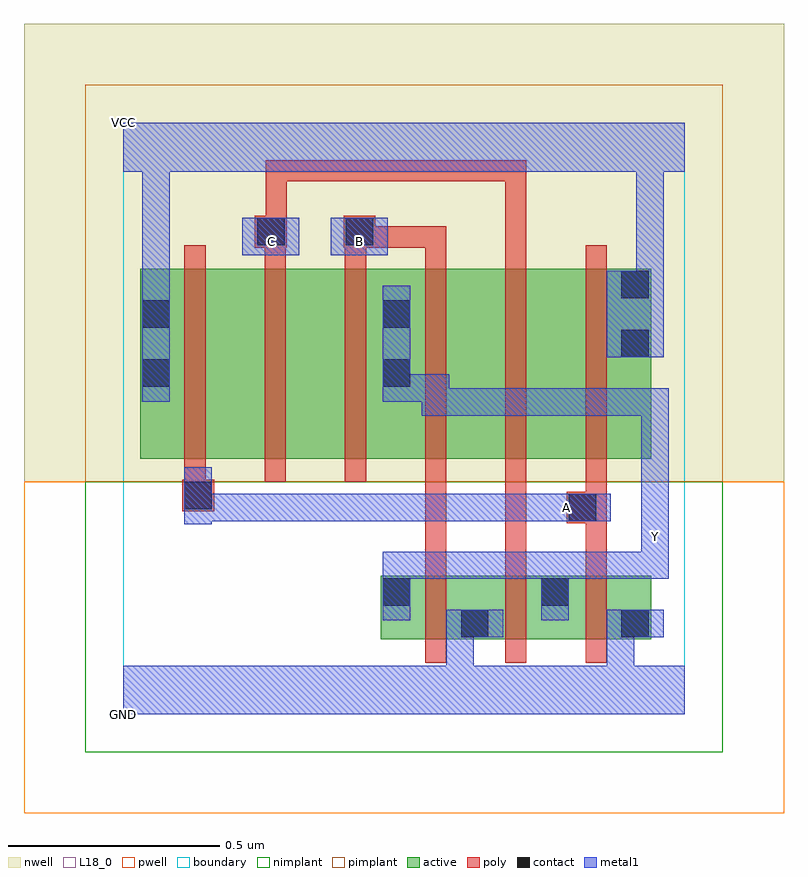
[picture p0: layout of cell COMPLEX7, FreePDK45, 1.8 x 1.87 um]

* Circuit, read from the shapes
.subckt COMPLEX7 A B C GND VCC Y
M1 GND B Y VSUBS nfet w=0.15u l=0.05u
M2 Y C GND VSUBS nfet w=0.15u l=0.05u
M3 GND A Y VSUBS nfet w=0.15u l=0.05u
M4 n1 A VCC n2 pfet w=0.45u l=0.05u
M5 n3 C n1 n2 pfet w=0.45u l=0.05u
M6 Y B n3 n2 pfet w=0.45u l=0.05u
M7 n4 B Y n2 pfet w=0.45u l=0.05u
M8 n5 C n4 n2 pfet w=0.45u l=0.05u
M9 VCC A n5 n2 pfet w=0.45u l=0.05u
.ends

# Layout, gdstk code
import gdstk
lib = gdstk.Library(unit=1e-6, precision=1e-09)
def R(c, l, rs):  # rectangles x0, y0, x1, y1
    for r in rs: c.add(gdstk.rectangle(r[:2], r[2:], *l))
def A(c, l, x, y, w, h, nx, ny, dx, dy):  # array of equal rectangles
    R(c, l, [(x+i*dx, y+j*dy, x+i*dx+w, y+j*dy+h) for i in range(nx) for j in range(ny)])
active = (1, 0)
pwell = (2, 0)
nwell = (3, 0)
nimplant = (4, 0)
pimplant = (5, 0)
poly = (9, 0)
contact = (10, 0)
metal1 = (11, 0)
L18_0 = (18, 0)
boundary = (235, 0)

complex7 = lib.new_cell('COMPLEX7')
R(complex7, active, [(0.61,0.177,0.87,0.327), (0.795,0.177,1.06,0.327), (0.795,0.177,0.87,0.275), (0.985,0.177,1.25,0.327), (1.175,0.177,1.25,0.327), (0.61,0.2,0.685,0.327), (0.985,0.2,1.06,0.327), (0.04,0.605,0.265,1.055), (0.04,0.605,0.115,1.055), (0.265,0.605,0.455,1.055), (0.455,0.605,0.685,1.055), (0.61,0.605,0.835,1.055), (0.835,0.605,1.025,1.055), (1.025,0.605,1.25,1.055), (1.175,0.642,1.25,1.055), (0.61,0.685,0.685,1.055)])
R(complex7, pwell, [(-0.235,-0.235,1.565,0.55)])
R(complex7, nwell, [(-0.235,0.55,1.565,1.635)])
R(complex7, nimplant, [(-0.09,-0.09,1.42,0.55)])
R(complex7, pimplant, [(-0.09,0.55,1.42,1.49)])
A(complex7, poly, 0.715, 0.122, 0.05, 0.26, 3, 1, 0.19, 0)
A(complex7, poly, 0.145, 0.55, 0.05, 0.56, 6, 1, 0.19, 0)
A(complex7, poly, 0.335, 1.06, 0.05, 0.095, 3, 1, 0.19, 0)
R(complex7, poly, [(0.715,0.332,0.765,0.555), (0.905,0.332,0.955,0.427), (1.095,0.332,1.145,0.502), (0.905,0.377,0.955,0.427), (0.905,0.377,0.955,0.6), (1.05,0.452,1.145,0.527), (1.095,0.477,1.145,0.6), (0.14,0.48,0.215,0.555), (0.145,0.505,0.195,0.6), (0.715,0.505,0.765,0.555), (0.715,0.505,0.765,0.6), (0.905,1.06,0.955,1.312), (0.312,1.105,0.387,1.18), (0.522,1.105,0.597,1.18), (0.547,1.105,0.597,1.155), (0.547,1.105,0.597,1.155), (0.547,1.105,0.765,1.155), (0.715,1.105,0.765,1.155), (0.337,1.13,0.387,1.18), (0.337,1.13,0.387,1.18), (0.337,1.13,0.387,1.312), (0.337,1.262,0.387,1.312), (0.337,1.262,0.597,1.312), (0.547,1.262,0.597,1.312), (0.547,1.262,0.597,1.312), (0.547,1.262,0.597,1.312), (0.547,1.262,0.73,1.312), (0.68,1.262,0.73,1.312), (0.68,1.262,0.955,1.312), (0.905,1.262,0.955,1.312), (0.905,1.262,0.955,1.312), (0.905,1.262,0.955,1.312), (0.905,1.262,0.955,1.312), (0.905,1.262,0.955,1.312)])
R(complex7, contact, [(0.8,0.182,0.865,0.247), (1.18,0.182,1.245,0.247), (0.615,0.257,0.68,0.322), (0.99,0.257,1.055,0.322), (1.055,0.457,1.12,0.522), (0.145,0.485,0.21,0.55), (0.045,0.775,0.11,0.84), (0.615,0.775,0.68,0.84), (1.18,0.845,1.245,0.91), (0.045,0.915,0.11,0.98), (0.615,0.915,0.68,0.98), (1.18,0.985,1.245,1.05), (0.317,1.11,0.382,1.175), (0.527,1.11,0.592,1.175)])
R(complex7, metal1, [(0,0,1.33,0.115), (0.765,0.05,0.83,0.247), (1.145,0.05,1.21,0.247), (0.765,0.182,0.83,0.247), (0.765,0.182,0.83,0.247), (0.765,0.182,0.9,0.247), (1.145,0.182,1.21,0.247), (1.145,0.182,1.21,0.247), (1.145,0.182,1.28,0.247), (0.615,0.222,0.68,0.357), (0.99,0.222,1.055,0.385), (0.615,0.292,0.68,0.357), (0.615,0.292,0.68,0.385), (0.615,0.32,0.91,0.385), (0.845,0.32,0.91,0.385), (0.845,0.32,0.91,0.385), (0.845,0.32,0.91,0.385), (0.845,0.32,1.055,0.385), (0.99,0.32,1.292,0.385), (1.227,0.32,1.292,0.385), (1.227,0.32,1.292,0.385), (1.227,0.32,1.292,0.385), (1.227,0.32,1.292,0.417), (1.227,0.352,1.292,0.487), (1.227,0.422,1.292,0.772), (0.145,0.45,0.21,0.585), (0.145,0.457,0.21,0.522), (0.145,0.457,0.21,0.522), (0.145,0.457,0.347,0.522), (0.282,0.457,0.347,0.522), (0.282,0.457,0.347,0.522), (0.282,0.457,0.347,0.522), (0.282,0.457,0.542,0.522), (0.477,0.457,0.542,0.522), (0.477,0.457,0.555,0.522), (0.49,0.457,0.555,0.522), (0.49,0.457,0.772,0.522), (0.707,0.457,0.772,0.522), (0.707,0.457,0.91,0.522), (0.845,0.457,0.91,0.522), (0.845,0.457,0.91,0.522), (0.845,0.457,0.91,0.522), (0.845,0.457,1.047,0.522), (0.982,0.457,1.047,0.522), (0.982,0.457,1.047,0.522), (0.982,0.457,1.155,0.522), (0.707,0.707,0.91,0.772), (0.707,0.707,0.772,0.805), (0.845,0.707,0.91,0.772), (0.845,0.707,0.91,0.772), (0.845,0.707,0.91,0.772), (0.845,0.707,1.057,0.772), (0.992,0.707,1.057,0.772), (0.992,0.707,1.057,0.772), (0.992,0.707,1.057,0.772), (0.992,0.707,1.292,0.772), (1.227,0.707,1.292,0.772), (0.045,0.74,0.11,1.015), (0.615,0.74,0.772,0.805), (0.615,0.74,0.68,1.015), (1.145,0.845,1.28,1.05), (0.045,0.95,0.11,1.35), (1.215,0.985,1.28,1.05), (1.215,0.985,1.28,1.05), (1.215,0.985,1.28,1.05), (1.215,0.985,1.28,1.05), (1.215,0.985,1.28,1.35), (0.282,1.087,0.417,1.175), (0.492,1.087,0.627,1.175), (0,1.285,1.33,1.4), (0.045,1.285,0.11,1.35), (0.045,1.285,0.11,1.35), (0.045,1.285,0.11,1.35), (0.045,1.285,0.11,1.35)])
R(complex7, L18_0, [(0,0,1.33,0.115), (0.765,0.05,0.83,0.247), (1.145,0.05,1.21,0.247), (0.765,0.182,0.83,0.247), (0.765,0.182,0.83,0.247), (0.765,0.182,0.9,0.247), (1.145,0.182,1.21,0.247), (1.145,0.182,1.21,0.247), (1.145,0.182,1.28,0.247), (0.615,0.222,0.68,0.357), (0.99,0.222,1.055,0.385), (0.615,0.292,0.68,0.357), (0.615,0.292,0.68,0.385), (0.615,0.32,0.91,0.385), (0.845,0.32,0.91,0.385), (0.845,0.32,0.91,0.385), (0.845,0.32,0.91,0.385), (0.845,0.32,1.055,0.385), (0.99,0.32,1.292,0.385), (1.227,0.32,1.292,0.385), (1.227,0.32,1.292,0.385), (1.227,0.32,1.292,0.385), (1.227,0.32,1.292,0.417), (1.227,0.352,1.292,0.487), (1.227,0.387,1.292,0.452), (1.227,0.422,1.292,0.772), (0.145,0.45,0.21,0.585), (0.145,0.457,0.21,0.522), (0.145,0.457,0.21,0.522), (0.145,0.457,0.347,0.522), (0.282,0.457,0.347,0.522), (0.282,0.457,0.347,0.522), (0.282,0.457,0.347,0.522), (0.282,0.457,0.542,0.522), (0.477,0.457,0.542,0.522), (0.477,0.457,0.555,0.522), (0.49,0.457,0.555,0.522), (0.49,0.457,0.772,0.522), (0.707,0.457,0.772,0.522), (0.707,0.457,0.91,0.522), (0.845,0.457,0.91,0.522), (0.845,0.457,0.91,0.522), (0.845,0.457,0.91,0.522), (0.845,0.457,1.047,0.522), (0.982,0.457,1.047,0.522), (0.982,0.457,1.047,0.522), (0.982,0.457,1.155,0.522), (1.017,0.457,1.082,0.522), (0.707,0.707,0.772,0.805), (0.707,0.707,0.91,0.772), (0.845,0.707,0.91,0.772), (0.845,0.707,0.91,0.772), (0.845,0.707,0.91,0.772), (0.845,0.707,1.057,0.772), (0.992,0.707,1.057,0.772), (0.992,0.707,1.057,0.772), (0.992,0.707,1.057,0.772), (0.992,0.707,1.292,0.772), (1.227,0.707,1.292,0.772), (0.045,0.74,0.11,1.015), (0.615,0.74,0.68,1.015), (0.615,0.74,0.772,0.805), (1.145,0.845,1.28,1.05), (0.045,0.95,0.11,1.35), (1.215,0.985,1.28,1.05), (1.215,0.985,1.28,1.05), (1.215,0.985,1.28,1.05), (1.215,0.985,1.28,1.05), (1.215,0.985,1.28,1.35), (0.282,1.087,0.417,1.175), (0.317,1.087,0.382,1.152), (0.492,1.087,0.627,1.175), (0.527,1.087,0.592,1.152), (0,1.285,1.33,1.4), (0.045,1.285,0.11,1.35), (0.045,1.285,0.11,1.35), (0.045,1.285,0.11,1.35), (0.045,1.285,0.11,1.35)])
R(complex7, boundary, [(0,0,1.33,1.4)])
complex7.add(gdstk.Label('A', (1.05,0.49), layer=11, texttype=0))
complex7.add(gdstk.Label('B', (0.56,1.12), layer=11, texttype=0))
complex7.add(gdstk.Label('C', (0.35,1.12), layer=11, texttype=0))
complex7.add(gdstk.Label('Y', (1.26,0.42), layer=11, texttype=0))
complex7.add(gdstk.Label('VCC', (0,1.4), layer=11, texttype=0))
complex7.add(gdstk.Label('GND', (0,0), layer=11, texttype=0))

lib.write_gds('COMPLEX7.gds')
